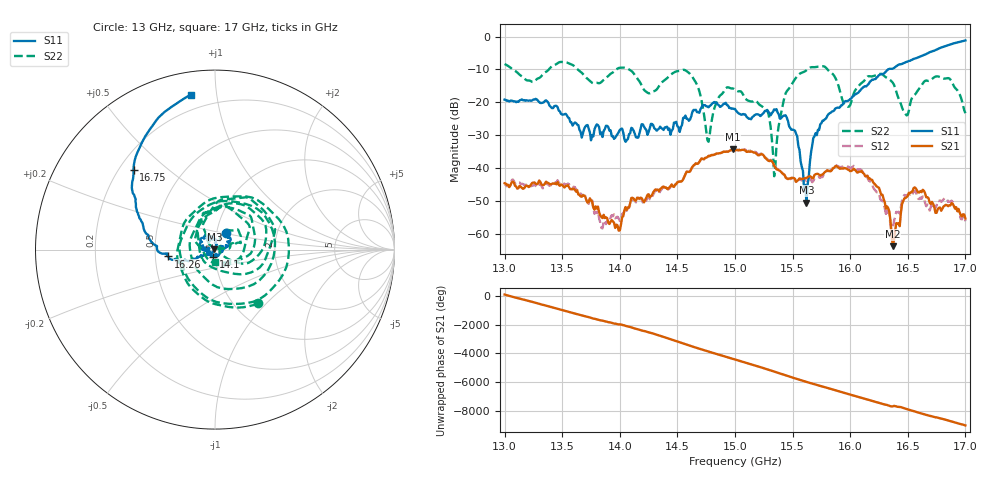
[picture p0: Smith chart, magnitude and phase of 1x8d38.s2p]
!Keysight Technologies,P9374A,MY57211807,A.19.30.04
!Date: Friday, May 08, 2026 15:20:00
!Correction: S11(C  2-Port  )
!S21(C  2-Port  )
!S12(C  2-Port  )
!S22(C  2-Port  )
!S2P File: Measurements: S11, S21, S12, S22:
# Hz S  dB  R 50
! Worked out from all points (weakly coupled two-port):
!   401 points, 13 GHz to 17 GHz, reference 50 ohm
!   highest |S21| = -34.28 dB at 14.98 GHz (marker M1); lowest = -63.7 dB at 16.37 GHz (marker M2)
!   lowest |S11| = -50.4 dB at 15.62 GHz (marker M3), VSWR 1.01, Z = 49.7 + j0.0933 ohm
!   |S11| at or under -10 dB: start of sweep to 16.33 GHz
!   |S22| runs from -42.5 to -7.7 dB; largest |S21 - S12| = 0.0016
!   S11 on the Smith chart (normalised r, x): 13 GHz: 1.11, +0.21; 14.1 GHz: 0.98, -0.08; 16.26 GHz: 0.58, -0.05; 16.75 GHz: 0.26, +0.38; 17 GHz: 0.12, +0.85
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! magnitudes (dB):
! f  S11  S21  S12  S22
! 13 GHz  -19.1  -44.6  -45.0  -8.3
! 13.67 GHz  -30.7  -48.7  -48.3  -11.0
! 13.98 GHz  -29.7  -57.4  -54.7  -9.7
! 14.1 GHz  -27.7  -49.1  -49.8  -10.4
! 14.34 GHz  -28.0  -47.1  -47.7  -15.1
! 14.6 GHz  -25.6  -41.2  -41.2  -11.0
! 14.77 GHz  -21.5  -36.3  -36.3  -32.0
! 14.98 GHz  -21.9  -34.3  -34.2  -15.8
! 15 GHz  -22.0  -34.6  -34.4  -16.1
! 15.27 GHz  -22.6  -37.1  -36.9  -22.1
! 15.34 GHz  -22.1  -39.2  -39.1  -42.5
! 15.44 GHz  -23.9  -42.9  -42.8  -17.2
! 15.62 GHz  -50.4  -43.1  -43.8  -10.2
! 15.67 GHz  -33.1  -43.0  -44.3  -9.3
! 15.98 GHz  -19.5  -40.4  -39.5  -21.3
! 16.26 GHz  -11.6  -47.1  -49.4  -11.3
! 16.34 GHz  -9.8  -53.2  -53.9  -13.0
! 16.37 GHz  -9.8  -63.7  -58.3  -14.0
! 16.48 GHz  -7.8  -49.0  -48.3  -23.5
! 16.55 GHz  -6.8  -46.0  -47.1  -18.0
! 16.75 GHz  -4.0  -53.6  -51.3  -12.1
! 17 GHz  -1.2  -55.3  -56.1  -23.3
